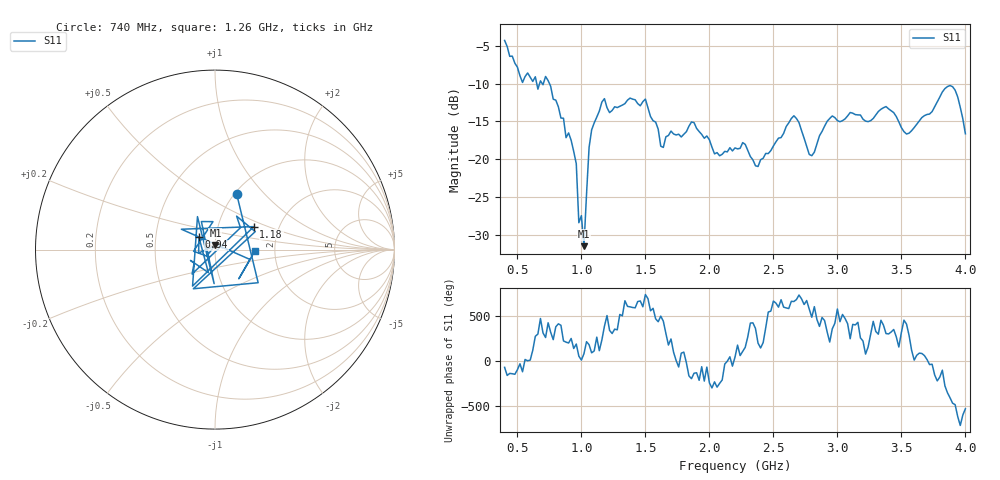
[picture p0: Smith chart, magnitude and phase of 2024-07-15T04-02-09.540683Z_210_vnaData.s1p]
!Created with skrf (http://scikit-rf.org).
# Hz S RI R 50.0
!freq ReS11 ImS11
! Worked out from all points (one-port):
!   181 points, 400 MHz to 4 GHz, reference 50 ohm
!   lowest |S11| = -31.5 dB at 1.02 GHz (marker M1), VSWR 1.05, Z = 50.2 + j2.66 ohm
!   |S11| at or under -10 dB: 650.9 MHz to 673.5 MHz (22.58 MHz wide, 3.41 % of centre); 693.9 MHz to 702.9 MHz (8.964 MHz wide, 1.28 % of centre); 750.3 MHz to end of sweep
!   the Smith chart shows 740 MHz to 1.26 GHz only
!   S11 on the Smith chart (normalised r, x): 740 MHz: 1.03, +0.71; 940 MHz: 0.83, +0.11; 1.18 GHz: 1.49, +0.41; 1.26 GHz: 1.57, -0.02
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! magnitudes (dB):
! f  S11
! 400 MHz  -4.3
! 540 MHz  -9.9
! 740 MHz  -9.6
! 860 MHz  -14.6
! 940 MHz  -19.0
! 960 MHz  -20.6
! 980 MHz  -28.4
! 1 GHz  -27.5
! 1.02 GHz  -31.5
! 1.06 GHz  -18.4
! 1.18 GHz  -12.0
! 1.26 GHz  -13.1
! 1.3 GHz  -13.0
! 1.5 GHz  -12.0
! 1.64 GHz  -18.4
! 1.76 GHz  -16.7
! 1.88 GHz  -15.2
! 2.04 GHz  -19.3
! 2.2 GHz  -18.5
! 2.38 GHz  -21.0
! 2.66 GHz  -14.3
! 2.8 GHz  -19.5
! 2.92 GHz  -15.0
! 3.1 GHz  -13.8
! 3.38 GHz  -13.0
! 3.56 GHz  -16.6
! 3.88 GHz  -10.3
! 4 GHz  -16.6
